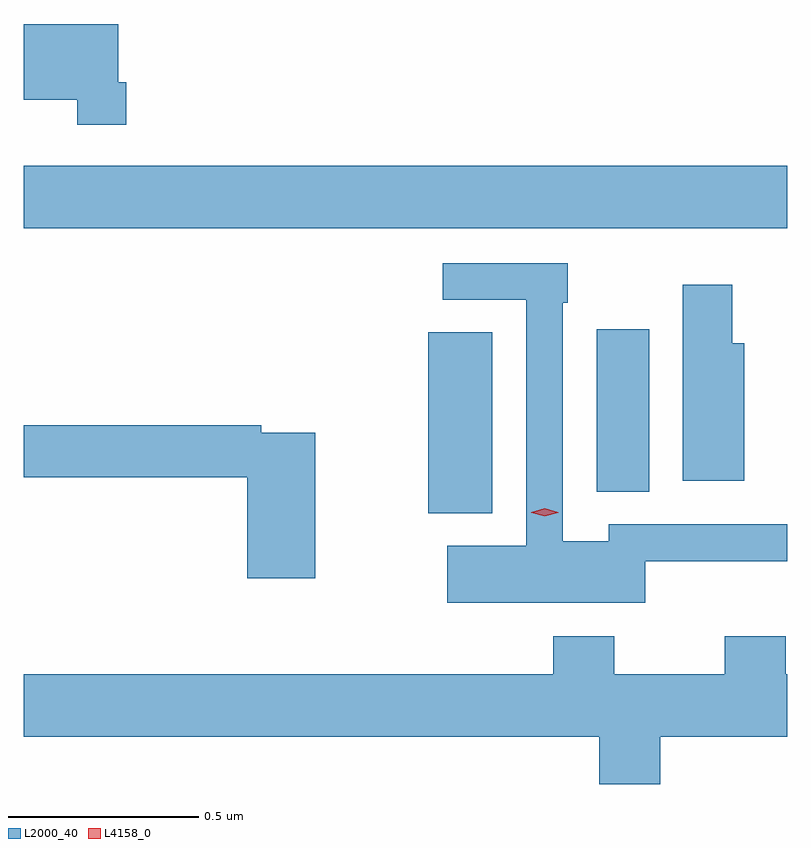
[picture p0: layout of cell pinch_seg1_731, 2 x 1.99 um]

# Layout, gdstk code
import gdstk
lib = gdstk.Library(unit=1e-6, precision=1e-09)
def R(c, l, rs):  # rectangles x0, y0, x1, y1
    for r in rs: c.add(gdstk.rectangle(r[:2], r[2:], *l))
def P(c, l, *ps):  # polygons
    for p in ps: c.add(gdstk.Polygon(p, *l))
L2000_40 = (2000, 40)
L4158_0 = (4158, 0)

pinch_seg1_731 = lib.new_cell('pinch_seg1_731')
R(pinch_seg1_731, L2000_40, [(744.338,513.689,744.505,514.163), (744.779,513.745,744.916,514.171), (743.278,514.436,745.278,514.6)])
P(pinch_seg1_731, L2000_40, [(743.546,514.819),(743.526,514.819),(743.526,514.971),(743.278,514.971),(743.278,514.772),(743.418,514.772),(743.418,514.707),(743.546,514.707)],
  [(744.906,513.563),(745.278,513.563),(745.278,513.66),(744.81,513.66),(744.81,513.616),(744.69,513.616),(744.69,514.241),(744.703,514.241),(744.703,514.344),(744.375,514.344),(744.375,514.248),(744.594,514.248),(744.594,513.604),(744.387,513.604),(744.387,513.455),(744.906,513.455)],
  [(745.165,514.135),(745.134,514.135),(745.134,514.288),(745.004,514.288),(745.004,513.774),(745.165,513.774)],
  [(744.042,513.9),(743.9,513.9),(743.9,513.92),(743.278,513.92),(743.278,513.784),(743.864,513.784),(743.864,513.519),(744.042,513.519)],
  [(744.945,513.104),(745.278,513.104),(745.278,513.268),(745.274,513.268),(745.274,513.367),(745.114,513.367),(745.114,513.268),(744.825,513.268),(744.825,513.367),(744.665,513.367),(744.665,513.268),(743.278,513.268),(743.278,513.104),(744.785,513.104),(744.785,512.98),(744.945,512.98)])
P(pinch_seg1_731, L4158_0, [(744.643,513.682),(744.608,513.691),(744.608,513.692),(744.608,513.692),(744.643,513.702),(744.678,513.692),(744.678,513.692),(744.678,513.691)])

lib.write_gds('pinch_seg1_731.gds')
